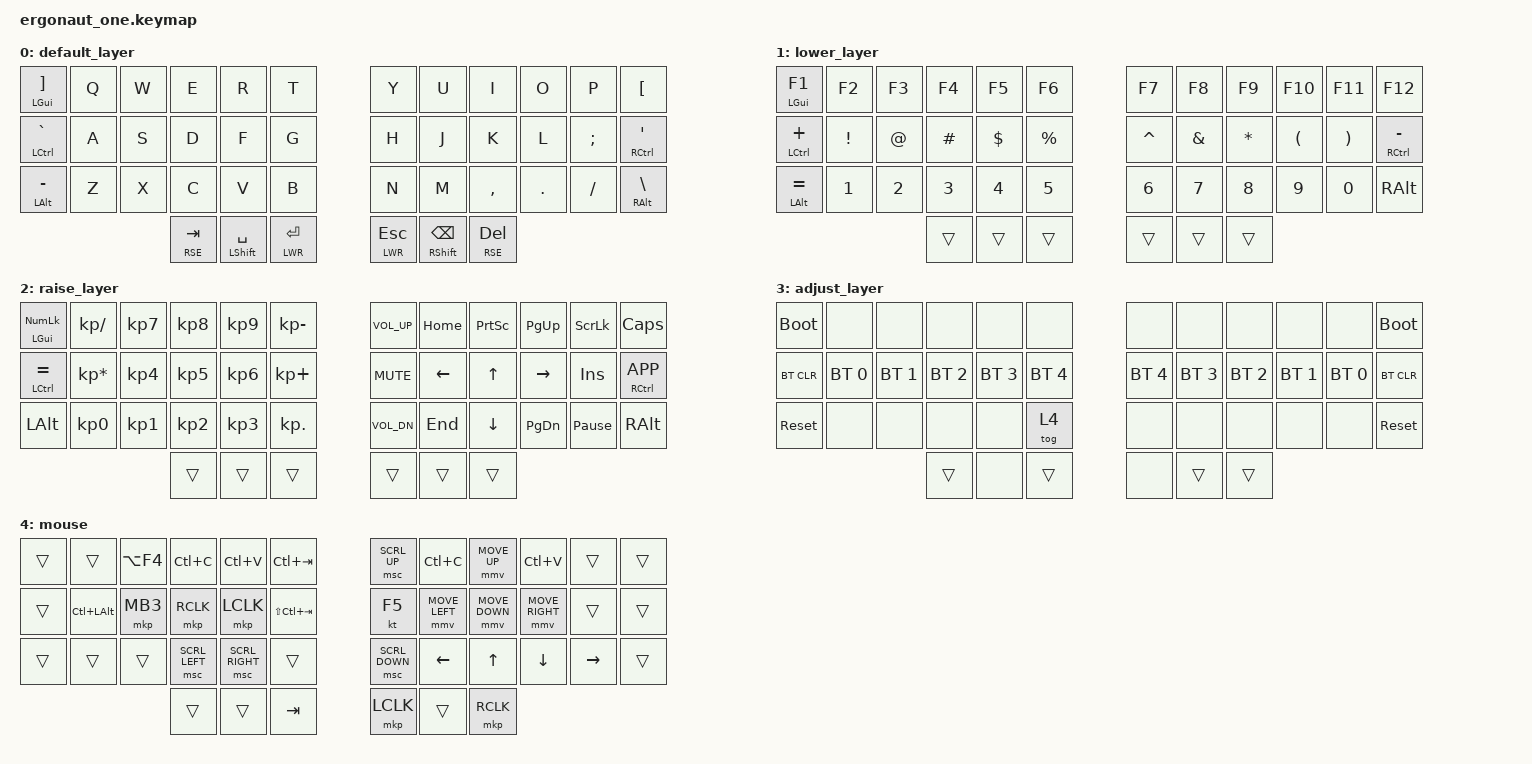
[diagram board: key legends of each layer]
#define ZMK_POINTING_DEFAULT_MOVE_VAL 2000  // default: 600
#define ZMK_POINTING_DEFAULT_SCRL_VAL 15    // default: 10

#include <behaviors.dtsi>
#include <dt-bindings/zmk/bt.h>
#include <dt-bindings/zmk/keys.h>
#include <dt-bindings/zmk/keys.h>
#include <dt-bindings/zmk/pointing.h>
#include <dt-bindings/zmk/pointing.h>
#include <dt-bindings/zmk/pointing.h>

#define DEF 0
#define LWR 1
#define RSE 2
#define ADJ 3

&lt { quick-tap-ms = <200>; };

&mt { quick-tap-ms = <200>; };

/ {
    conditional_layers {
        compatible = "zmk,conditional-layers";

        tri-layer {
            if-layers = <1 2>;
            then-layer = <3>;
        };
    };

    combos {
        compatible = "zmk,combos";

        left_parenthesis {
            bindings = <&kp LEFT_PARENTHESIS>;
            key-positions = <16 15>;
        };

        right_parenthesis {
            bindings = <&kp RIGHT_PARENTHESIS>;
            key-positions = <19 20>;
        };

        left_bracet {
            bindings = <&kp LEFT_BRACKET>;
            key-positions = <27 28>;
        };

        right_bracet {
            bindings = <&kp RIGHT_BRACKET>;
            key-positions = <31 32>;
        };

        left_brace {
            bindings = <&kp LEFT_BRACE>;
            key-positions = <3 4>;
        };

        right_brace {
            bindings = <&kp RIGHT_BRACE>;
            key-positions = <7 8>;
        };

        lower_minus {
            bindings = <&kp UNDERSCORE>;
            key-positions = <15 14>;
        };

        brightness_up {
            bindings = <&kp C_BRI_UP>;
            key-positions = <10 11>;
        };

        brightness_decreace {
            bindings = <&kp C_BRI_DN>;
            key-positions = <23 22>;
        };

        mouse_layer {
            bindings = <&tog 4>;
            key-positions = <16 15 14>;
        };

        copyMacro {
            bindings = <&kp LC(C)>;
            key-positions = <4 5>;
        };

        pasteMacro {
            bindings = <&kp LC(V)>;
            key-positions = <16 17>;
        };
    };

    keymap {
        compatible = "zmk,keymap";

        default_layer {
            bindings = <
&mt LGUI RBKT    &kp Q  &kp W  &kp E        &kp R            &kp T        &kp Y        &kp U           &kp I        &kp O    &kp P     &kp LBKT
&mt LCTRL GRAVE  &kp A  &kp S  &kp D        &kp F            &kp G        &kp H        &kp J           &kp K        &kp L    &kp SEMI  &mt RCTRL SQT
&mt LALT MINUS   &kp Z  &kp X  &kp C        &kp V            &kp B        &kp N        &kp M           &kp COMMA    &kp DOT  &kp FSLH  &mt RALT BSLH
                               &lt RSE TAB  &mt LSHFT SPACE  &lt LWR RET  &lt LWR ESC  &mt RSHFT BSPC  &lt RSE DEL
            >;
        };

        lower_layer {
            bindings = <
&mt LGUI F1     &kp F2    &kp F3  &kp F4    &kp F5    &kp F6     &kp F7     &kp F8    &kp F9    &kp F10   &kp F11   &kp F12
&mt LCTRL PLUS  &kp EXCL  &kp AT  &kp HASH  &kp DLLR  &kp PRCNT  &kp CARET  &kp AMPS  &kp STAR  &kp LPAR  &kp RPAR  &mt RCTRL MINUS
&mt LALT EQUAL  &kp N1    &kp N2  &kp N3    &kp N4    &kp N5     &kp N6     &kp N7    &kp N8    &kp N9    &kp N0    &kp RALT
                                  &trans    &trans    &trans     &trans     &trans    &trans
            >;
        };

        raise_layer {
            bindings = <
&mt LGUI KP_NUM  &kp KP_SLASH     &kp KP_N7  &kp KP_N8  &kp KP_N9  &kp KP_MINUS  &kp C_VOL_UP  &kp HOME  &kp PSCRN  &kp PG_UP  &kp SLCK         &kp CLCK
&mt LCTRL EQUAL  &kp KP_MULTIPLY  &kp KP_N4  &kp KP_N5  &kp KP_N6  &kp KP_PLUS   &kp C_MUTE    &kp LEFT  &kp UP     &kp RIGHT  &kp INS          &mt RCTRL K_APP
&kp LALT         &kp KP_N0        &kp KP_N1  &kp KP_N2  &kp KP_N3  &kp KP_DOT    &kp C_VOL_DN  &kp END   &kp DOWN   &kp PG_DN  &kp PAUSE_BREAK  &kp RALT
                                             &trans     &trans     &trans        &trans        &trans    &trans
            >;
        };

        adjust_layer {
            bindings = <
&bootloader  &none         &none         &none         &none         &none         &none         &none         &none         &none         &none         &bootloader
&bt BT_CLR   &bt BT_SEL 0  &bt BT_SEL 1  &bt BT_SEL 2  &bt BT_SEL 3  &bt BT_SEL 4  &bt BT_SEL 4  &bt BT_SEL 3  &bt BT_SEL 2  &bt BT_SEL 1  &bt BT_SEL 0  &bt BT_CLR
&sys_reset   &none         &none         &none         &none         &tog 4        &none         &none         &none         &none         &none         &sys_reset
                                         &trans        &none         &trans        &none         &trans        &trans
            >;
        };

        mouse {
            bindings = <
&trans  &trans            &kp LA(F4)  &kp LC(C)       &kp LC(V)        &kp LC(TAB)      &msc SCRL_UP    &kp LC(C)       &mmv MOVE_UP    &kp LC(V)        &trans           &trans
&trans  &kp LC(LEFT_ALT)  &mkp MB3    &mkp RCLK       &mkp LCLK        &kp LS(LC(TAB))  &kt F5          &mmv MOVE_LEFT  &mmv MOVE_DOWN  &mmv MOVE_RIGHT  &trans           &trans
&trans  &trans            &trans      &msc SCRL_LEFT  &msc SCRL_RIGHT  &trans           &msc SCRL_DOWN  &kp LEFT_ARROW  &kp UP_ARROW    &kp DOWN_ARROW   &kp RIGHT_ARROW  &trans
                                      &trans          &trans           &kp TAB          &mkp LCLK       &trans          &mkp RCLK
            >;
        };
    };
};
